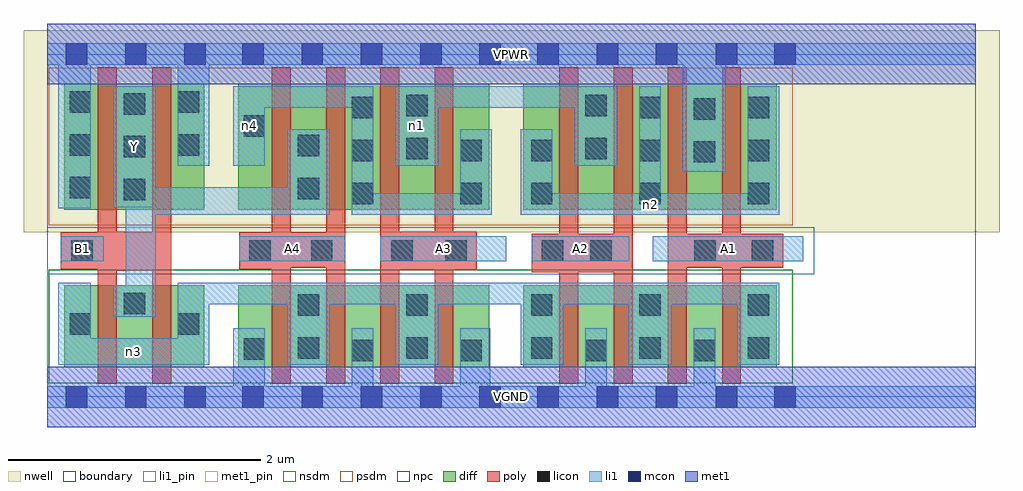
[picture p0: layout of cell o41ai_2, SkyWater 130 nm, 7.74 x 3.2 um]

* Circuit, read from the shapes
.subckt o41ai_2 A1 A2 A3 A4 B1 VGND VPWR Y n1 n2 n3 n4
XM1 Y B1 n3 VSUBS sky130_fd_pr__nfet_01v8 w=0.65 l=0.15 m=2
XM2 n3 A4 VGND VSUBS sky130_fd_pr__nfet_01v8 w=0.65 l=0.15 m=2
XM3 n3 A3 VGND VSUBS sky130_fd_pr__nfet_01v8 w=0.65 l=0.15 m=2
XM4 VGND A2 n3 VSUBS sky130_fd_pr__nfet_01v8 w=0.65 l=0.15 m=2
XM5 VGND A1 n3 VSUBS sky130_fd_pr__nfet_01v8 w=0.65 l=0.15 m=2
XM6 Y B1 VPWR n5 sky130_fd_pr__pfet_01v8 w=1 l=0.15 m=2
XM7 Y A4 n4 n5 sky130_fd_pr__pfet_01v8 w=1 l=0.15 m=2
XM8 n1 A3 n4 n5 sky130_fd_pr__pfet_01v8 w=1 l=0.15 m=2
XM9 n1 A2 n2 n5 sky130_fd_pr__pfet_01v8 w=1 l=0.15 m=2
XM10 VPWR A1 n2 n5 sky130_fd_pr__pfet_01v8 w=1 l=0.15 m=2
.ends

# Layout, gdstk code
import gdstk
lib = gdstk.Library(unit=1e-6, precision=1e-09)
def R(c, l, rs):  # rectangles x0, y0, x1, y1
    for r in rs: c.add(gdstk.rectangle(r[:2], r[2:], *l))
def A(c, l, x, y, w, h, nx, ny, dx, dy):  # array of equal rectangles
    R(c, l, [(x+i*dx, y+j*dy, x+i*dx+w, y+j*dy+h) for i in range(nx) for j in range(ny)])
nwell = (64, 20)
diff = (65, 20)
poly = (66, 20)
licon = (66, 44)
li1_pin = (67, 16)
li1 = (67, 20)
mcon = (67, 44)
met1_pin = (68, 16)
met1 = (68, 20)
nsdm = (93, 44)
psdm = (94, 20)
npc = (95, 20)
boundary = (235, 4)

o41ai_2 = lib.new_cell('o41ai_2')
R(o41ai_2, nwell, [(-0.19,1.305,7.55,2.91), (0,1.305,7.36,2.91)])
R(o41ai_2, diff, [(0.135,0.235,1.245,0.885), (1.515,0.235,3.505,0.885), (3.775,0.235,5.785,0.885), (0.135,1.485,1.245,2.485), (1.515,1.485,3.505,2.485), (3.775,1.485,5.785,2.485)])
A(o41ai_2, poly, 1.78, 0.105, 0.15, 2.51, 4, 1, 0.43, 0)
A(o41ai_2, poly, 4.06, 0.105, 0.15, 2.51, 4, 1, 0.43, 0)
R(o41ai_2, poly, [(0.4,0.105,0.55,2.615), (0.83,0.105,0.98,2.615), (3.84,0.99,4.64,1.295), (0.4,1,0.98,1.31), (2.64,1.01,3.405,1.31), (0.105,1.015,0.98,1.305), (1.52,1.015,1.93,1.305), (1.52,1.025,2.36,1.305), (4.92,1.025,5.835,1.295)])
A(o41ai_2, licon, 3.835, 0.305, 0.17, 0.17, 3, 2, 0.86, 0.34)
A(o41ai_2, licon, 2.415, 1.53, 0.17, 0.17, 1, 3, 0, 0.34)
A(o41ai_2, licon, 3.835, 1.53, 0.17, 0.17, 3, 2, 0.86, 0.34)
A(o41ai_2, licon, 0.605, 1.56, 0.17, 0.17, 1, 3, 0, 0.34)
A(o41ai_2, licon, 0.175, 1.575, 0.17, 0.17, 1, 3, 0, 0.34)
R(o41ai_2, licon, [(2.415,0.285,2.585,0.455), (3.275,0.285,3.445,0.455), (4.265,0.285,4.435,0.455), (5.125,0.285,5.295,0.455), (1.555,0.295,1.725,0.465), (1.985,0.305,2.155,0.475), (2.845,0.305,3.015,0.475), (0.175,0.495,0.345,0.665), (1.035,0.495,1.205,0.665), (1.985,0.645,2.155,0.815), (2.845,0.645,3.015,0.815), (0.605,0.655,0.775,0.825), (0.19,1.075,0.36,1.245), (1.6,1.075,1.77,1.245), (2.09,1.075,2.26,1.245), (2.725,1.075,2.895,1.245), (3.155,1.075,3.325,1.245), (3.92,1.075,4.09,1.245), (4.305,1.075,4.475,1.245), (5.13,1.075,5.3,1.245), (5.585,1.075,5.755,1.245), (3.275,1.53,3.445,1.7), (1.985,1.57,2.155,1.74), (5.125,1.86,5.295,2.03), (3.275,1.87,3.445,2.04), (2.845,1.885,3.015,2.055), (4.265,1.885,4.435,2.055), (1.985,1.91,2.155,2.08), (1.035,1.915,1.205,2.085), (1.555,2.065,1.725,2.235), (5.125,2.2,5.295,2.37), (4.695,2.21,4.865,2.38), (5.555,2.21,5.725,2.38), (2.845,2.225,3.015,2.395), (4.265,2.225,4.435,2.395), (1.035,2.255,1.205,2.425)])
R(o41ai_2, li1_pin, [(0.105,1.075,0.445,1.275), (1.52,1.075,2.36,1.275), (2.64,1.075,3.64,1.275), (3.84,1.075,4.615,1.275), (4.8,1.075,5.995,1.275), (0.52,1.505,0.86,2.465)])
R(o41ai_2, li1, [(0,-0.085,7.36,0.085), (1.475,-0.085,1.725,0.545), (2.415,-0.085,2.585,0.545), (3.275,-0.085,3.51,0.545), (4.265,-0.085,4.435,0.545), (5.125,-0.085,5.295,0.545), (0.085,0.255,1.285,0.465), (0.085,0.255,0.345,0.905), (1.035,0.255,1.285,0.905), (1.9,0.255,2.24,0.905), (2.76,0.255,3.1,0.905), (3.755,0.255,4.09,0.905), (4.61,0.255,4.95,0.905), (5.47,0.255,5.805,0.905), (0.52,0.635,0.86,0.885), (0.62,0.635,0.86,2.465), (1.035,0.735,5.805,0.905), (0.105,1.075,0.445,1.275), (1.52,1.075,2.36,1.275), (2.64,1.075,3.64,1.275), (3.84,1.075,4.615,1.275), (4.8,1.075,5.995,1.275), (0.62,1.445,2.24,1.665), (1.9,1.445,2.24,2.125), (2.415,1.445,3.525,1.615), (2.415,1.445,2.585,2.465), (3.275,1.445,3.525,2.125), (3.755,1.445,4.005,2.125), (3.755,1.445,5.805,1.615), (4.695,1.445,4.865,2.465), (5.555,1.445,5.805,2.465), (0.085,1.495,0.345,2.805), (0.52,1.505,0.86,2.465), (5.04,1.785,5.38,2.805), (1.035,1.835,1.285,2.805), (1.475,1.835,1.725,2.465), (2.76,1.835,3.1,2.465), (4.18,1.835,4.52,2.465), (1.475,2.295,2.585,2.465), (2.76,2.295,4.52,2.465), (0,2.635,7.36,2.805)])
A(o41ai_2, mcon, 0.145, -0.085, 0.17, 0.17, 3, 2, 0.47, 2.72)
A(o41ai_2, mcon, 1.545, -0.085, 0.17, 0.17, 5, 2, 0.47, 2.72)
A(o41ai_2, mcon, 3.885, -0.085, 0.17, 0.17, 3, 2, 0.47, 2.72)
R(o41ai_2, mcon, [(5.3,-0.085,5.47,0.085), (5.765,-0.085,5.935,0.085), (5.3,2.635,5.47,2.805), (5.765,2.635,5.935,2.805)])
R(o41ai_2, met1_pin, [(0,-0.24,7.36,0.24), (0,2.48,7.36,2.96)])
R(o41ai_2, met1, [(0,-0.24,7.36,0.24), (0,2.48,7.36,2.96)])
R(o41ai_2, nsdm, [(0.01,0.11,5.91,1.01)])
R(o41ai_2, psdm, [(0.01,1.36,5.91,2.61)])
R(o41ai_2, npc, [(0,0.975,6.08,1.345)])
R(o41ai_2, boundary, [(0,0,7.36,2.72)])
o41ai_2.add(gdstk.Label('A1', (5.397,1.175), layer=67, texttype=5))
o41ai_2.add(gdstk.Label('A2', (4.227,1.175), layer=67, texttype=5))
o41ai_2.add(gdstk.Label('A3', (3.14,1.175), layer=67, texttype=5))
o41ai_2.add(gdstk.Label('A4', (1.94,1.175), layer=67, texttype=5))
o41ai_2.add(gdstk.Label('B1', (0.275,1.175), layer=67, texttype=5))
o41ai_2.add(gdstk.Label('Y', (0.69,1.985), layer=67, texttype=5))
o41ai_2.add(gdstk.Label('n3', (0.685,0.36), layer=67, texttype=5))
o41ai_2.add(gdstk.Label('n4', (1.6,2.15), layer=67, texttype=5))
o41ai_2.add(gdstk.Label('n1', (2.93,2.15), layer=67, texttype=5))
o41ai_2.add(gdstk.Label('n2', (4.78,1.53), layer=67, texttype=5))
o41ai_2.add(gdstk.Label('VPWR', (3.68,2.72), layer=68, texttype=5))
o41ai_2.add(gdstk.Label('VGND', (3.68,0), layer=68, texttype=5))
o41ai_2.add(gdstk.Label('A1', (5.397,1.175), layer=67, texttype=16))
o41ai_2.add(gdstk.Label('A2', (4.227,1.175), layer=67, texttype=16))
o41ai_2.add(gdstk.Label('A3', (3.14,1.175), layer=67, texttype=16))
o41ai_2.add(gdstk.Label('A4', (1.94,1.175), layer=67, texttype=16))
o41ai_2.add(gdstk.Label('B1', (0.275,1.175), layer=67, texttype=16))
o41ai_2.add(gdstk.Label('Y', (0.69,1.985), layer=67, texttype=16))
o41ai_2.add(gdstk.Label('VPWR', (3.68,2.72), layer=68, texttype=16))
o41ai_2.add(gdstk.Label('VGND', (3.68,0), layer=68, texttype=16))

lib.write_gds('o41ai_2.gds')
